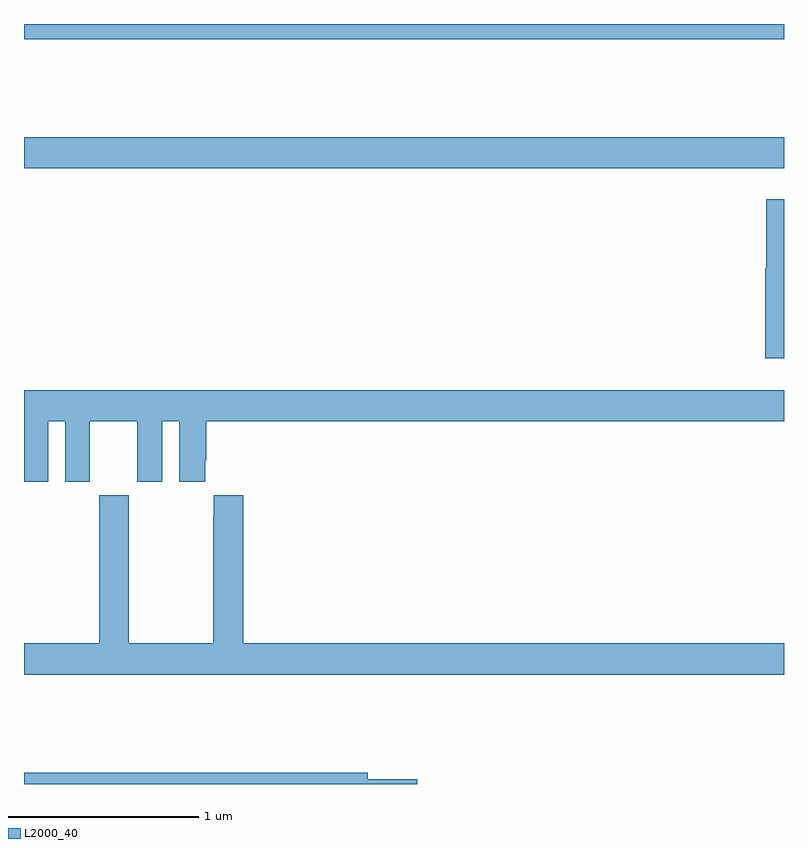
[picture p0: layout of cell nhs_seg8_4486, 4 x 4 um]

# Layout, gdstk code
import gdstk
lib = gdstk.Library(unit=1e-6, precision=1e-09)
def R(c, l, rs):  # rectangles x0, y0, x1, y1
    for r in rs: c.add(gdstk.rectangle(r[:2], r[2:], *l))
def P(c, l, *ps):  # polygons
    for p in ps: c.add(gdstk.Polygon(p, *l))
L2000_40 = (2000, 40)

nhs_seg8_4486 = lib.new_cell('nhs_seg8_4486')
R(nhs_seg8_4486, L2000_40, [(383,1143.14,387,1143.304), (383,1143.82,387,1143.9)])
P(nhs_seg8_4486, L2000_40, [(387,1142.977),(386.906,1142.977),(386.906,1142.613),(386.9,1142.613),(386.9,1142.142),(387,1142.142)],
  [(383.128,1141.808),(383.216,1141.808),(383.216,1141.491),(383.347,1141.491),(383.347,1141.808),(383.597,1141.808),(383.597,1141.491),(383.728,1141.491),(383.728,1141.808),(383.816,1141.808),(383.816,1141.491),(383.953,1141.491),(383.953,1141.603),(383.96,1141.603),(383.96,1141.808),(387,1141.808),(387,1141.972),(383,1141.972),(383,1141.491),(383.128,1141.491)],
  [(387,1140.64),(384.155,1140.64),(384.155,1141.42),(383.999,1141.42),(383.999,1141.307),(383.995,1141.307),(383.995,1140.64),(383.55,1140.64),(383.55,1141.42),(383.395,1141.42),(383.395,1140.64),(383,1140.64),(383,1140.476),(387,1140.476)],
  [(385.069,1139.924),(384.808,1139.924),(384.808,1139.96),(383,1139.96),(383,1139.9),(385.069,1139.9)])

lib.write_gds('nhs_seg8_4486.gds')
